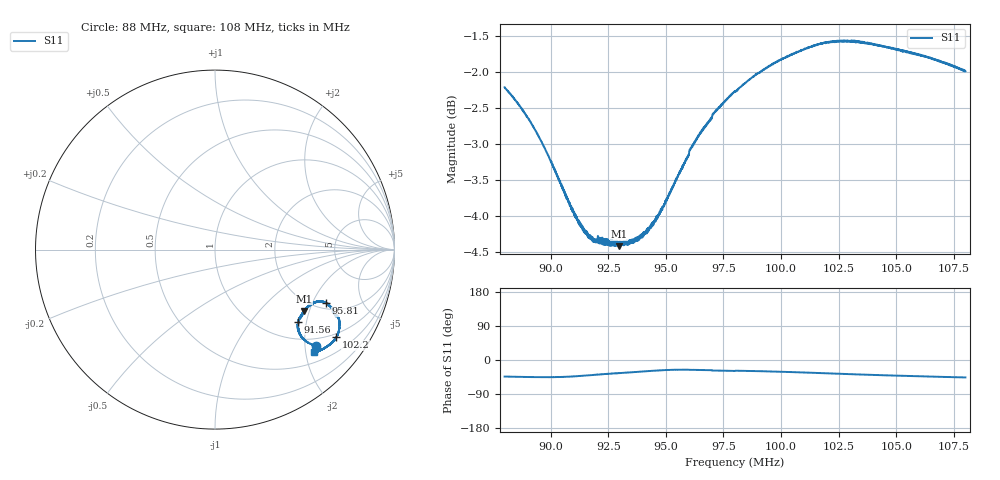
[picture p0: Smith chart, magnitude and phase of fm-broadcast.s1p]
! Calibrated averaged scanner-service zoom
# Hz S RI R 50
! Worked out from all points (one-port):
!   2001 points, 88 MHz to 108 MHz, reference 50 ohm
!   lowest |S11| = -4.4 dB at 92.97 MHz (marker M1), VSWR 4.02, Z = 86 - j91.9 ohm
!   |S11| at or under -10 dB: nowhere
!   S11 on the Smith chart (normalised r, x): 88 MHz: 0.83, -2.23; 91.56 MHz: 1.39, -1.79; 95.81 MHz: 2.26, -2.55; 102.2 MHz: 0.90, -2.85; 108 MHz: 0.70, -2.17
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8.8e7  0.5605 -0.5354
8.869e7  0.5356 -0.527
8.936e7  0.5096 -0.5122
8.99e7  0.4889 -0.4937
9.05e7  0.4679 -0.4653
9.098e7  0.4611 -0.4374
9.156e7  0.4636 -0.4011
9.194e7  0.4706 -0.3805
9.297e7  0.4953 -0.3413
9.3e7  0.4992 -0.3442
9.379e7  0.5194 -0.3137
9.455e7  0.5529 -0.2931
9.503e7  0.5808 -0.2895
9.55e7  0.6041 -0.293
9.581e7  0.6189 -0.2981
9.613e7  0.6349 -0.3091
9.69e7  0.6567 -0.331
9.711e7  0.6579 -0.3483
9.8e7  0.6743 -0.3732
9.811e7  0.6793 -0.3673
9.911e7  0.692 -0.3914
1.005e8  0.6932 -0.4331
1.0223e8  0.6765 -0.4863
1.03e8  0.6629 -0.5057
1.0414e8  0.6379 -0.531
1.055e8  0.6091 -0.5493
1.0691e8  0.577 -0.5661
1.08e8  0.5525 -0.5723
